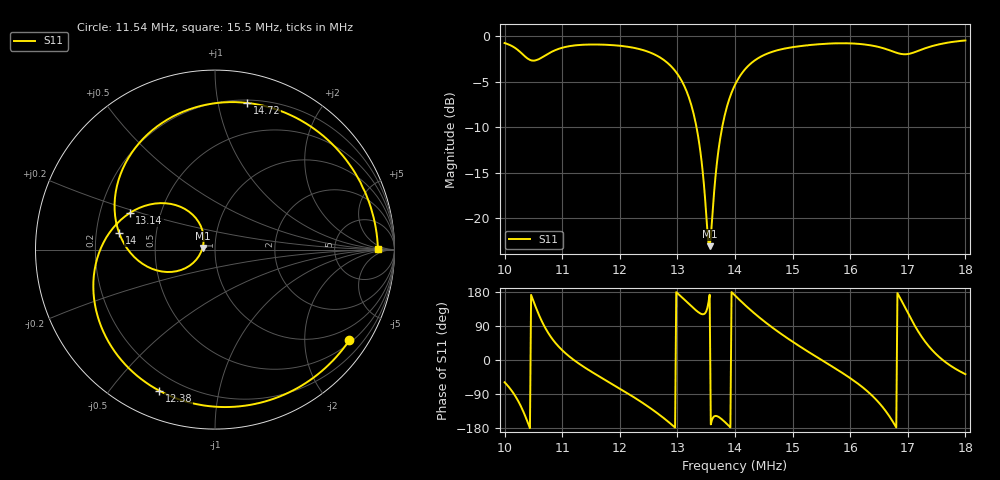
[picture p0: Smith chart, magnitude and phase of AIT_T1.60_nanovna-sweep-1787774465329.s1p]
! NanoVNA Web complex sweep
! Processing: original sample grid, no browser smoothing
# Hz S RI R 50
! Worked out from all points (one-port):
!   401 points, 10 MHz to 18 MHz, reference 50 ohm
!   lowest |S11| = -23.1 dB at 13.56 MHz (marker M1), VSWR 1.15, Z = 43.5 + j0.821 ohm
!   |S11| at or under -10 dB: 13.33 MHz to 13.78 MHz (445.5 kHz wide, 3.29 % of centre)
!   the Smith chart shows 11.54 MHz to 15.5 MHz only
!   S11 on the Smith chart (normalised r, x): 11.54 MHz: 0.58, -3.18; 12.38 MHz: 0.12, -0.67; 13.14 MHz: 0.33, +0.18; 14 MHz: 0.30, +0.08; 14.72 MHz: 0.22, +1.22; 15.5 MHz: 21, +1
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1e7  0.4767 -0.7861
1.024e7  -0.2796 -0.7887
1.044e7  -0.7426 -0.000113
1.056e7  -0.4987 0.5496
1.068e7  -0.0273 0.7767
1.1e7  0.7794 0.378
1.154e7  0.7486 -0.5045
1.2e7  0.2222 -0.8601
1.238e7  -0.3102 -0.7863
1.272e7  -0.6451 -0.3989
1.3e7  -0.6206 0.0403
1.314e7  -0.4743 0.2042
1.336e7  -0.1677 0.2263
1.356e7  -0.0695 0.00939
1.376e7  -0.2677 -0.1248
1.4e7  -0.5338 0.0916
1.428e7  -0.4632 0.5407
1.472e7  0.1784 0.8172
1.5e7  0.5805 0.6518
1.55e7  0.908 0.00402
1.6e7  0.6141 -0.6797
1.63e7  0.1132 -0.8915
1.652e7  -0.3872 -0.78
1.678e7  -0.8113 -0.1032
1.7e7  -0.4533 0.6588
1.718e7  0.2086 0.8061
1.744e7  0.8148 0.3524
1.8e7  0.7538 -0.5783
